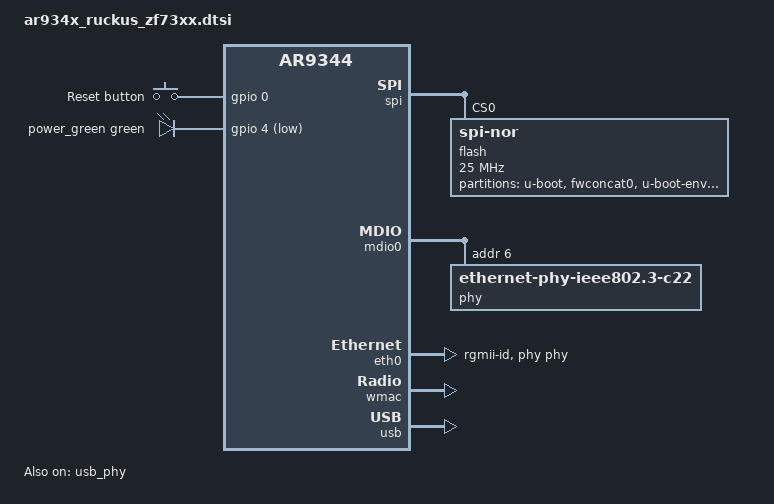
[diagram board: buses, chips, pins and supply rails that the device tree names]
// SPDX-License-Identifier: GPL-2.0-or-later OR MIT

#include "ar9344.dtsi"

#include <dt-bindings/gpio/gpio.h>
#include <dt-bindings/input/input.h>
#include <dt-bindings/leds/common.h>
#include <dt-bindings/mtd/partitions/uimage.h>

/ {
	aliases {
		led-boot = &power_green;
		led-failsafe = &power_red;
		led-running = &power_green;
		led-upgrade = &power_red;
	};

	firmware-concat {
		compatible = "mtd-concat";
		devices = <&fwconcat0 &fwconcat1>;

		partitions {
			compatible = "fixed-partitions";
			#address-cells = <1>;
			#size-cells = <1>;

			partition@0 {
				reg = <0x0 0x1f00000>;
				label = "firmware";
				compatible = "openwrt,uimage", "denx,uimage";
			};
		};
	};

	keys {
		compatible = "gpio-keys";

		reset {
			linux,code = <KEY_RESTART>;
			label = "Reset button";
			gpios = <&gpio 0 GPIO_ACTIVE_HIGH>;
			debounce-interval = <50>;
		};
	};

	leds {
		compatible = "gpio-leds";
		pinctrl-names = "default";
		pinctrl-0 = <&enable_gpio_11>,
			    <&enable_gpio_16>,
			    <&enable_gpio_4>,
			    <&clks_disable_pins>;

		power_green: power-green {
			function = LED_FUNCTION_POWER;
			color = <LED_COLOR_ID_GREEN>;
			gpios = <&gpio 4 GPIO_ACTIVE_LOW>;
			default-state = "on";
		};
	};

	reserved-memory {
		#address-cells = <1>;
		#size-cells = <1>;
		ranges;

		ruckus-himem@7ff0000 {
			/* Ruckus Himem area used to control
			 * redundant boot image selection
			 */
			compatible = "nvmem-rmem";
			reg = <0x7ff0000 0x10000>;
			no-map;
		};
	};
};

&ref {
	clock-frequency = <40000000>;
};

&spi {
	status = "okay";

	flash@0 {
		compatible = "jedec,spi-nor";
		reg = <0>;
		spi-max-frequency = <25000000>;

		partitions {
			compatible = "fixed-partitions";
			#address-cells = <1>;
			#size-cells = <1>;

			partition@0 {
				label = "u-boot";
				reg = <0x000000 0x040000>;
				read-only;
			};

			fwconcat0: partition@40000 {
				label = "fwconcat0";
				reg = <0x040000 0xf00000>;
			};

			partition@f40000 {
				compatible = "u-boot,env";
				label = "u-boot-env";
				reg = <0xf40000 0x040000>;
			};

			board_data: partition@f80000 {
				label = "board-data";
				reg = <0xf80000 0x080000>;
				read-only;
			};

			fwconcat1: partition@1000000 {
				label = "fwconcat1";
				reg = <0x1000000 0x1000000>;
			};
		};
	};
};

&mdio0 {
	status = "okay";

	phy: ethernet-phy@6 {
		compatible = "ethernet-phy-ieee802.3-c22";
		reg = <6>;
	};
};

&eth0 {
	status = "okay";
	pll-data = <0x02000000 0x00000101 0x00001313>;
	phy-mode = "rgmii-id";
	phy-handle = <&phy>;

	nvmem-cell-names = "mac-address";

	gmac-config {
		device = <&gmac>;
		rgmii-gmac0 = <1>;
		rxdv-delay = <3>;
		rxd-delay = <3>;
	};
};

&pinmux {
	clks_disable_pins: pinmux_clks_disable_pins {
		pinctrl-single,bits = <0x40 0x0 0x20>;
	};

	enable_gpio_4: pinctrl_enable_gpio_4 {
		pinctrl-single,bits = <0x4 0x0 0xff>;
	};

	enable_gpio_11: pinctrl_enable_gpio_11 {
		pinctrl-single,bits = <0x8 0x0 0xff000000>;
	};

	enable_gpio_16: pinctrl_enable_gpio_16 {
		pinctrl-single,bits = <0x10 0x0 0xff>;
	};
};

&wmac {
	status = "okay";

	nvmem-cells = <&macaddr_board_data_60>, <&cal_board_data_41000>;
	nvmem-cell-names = "mac-address", "calibration";
};

&usb {
	status = "okay";
};

&usb_phy {
	status = "okay";
};
